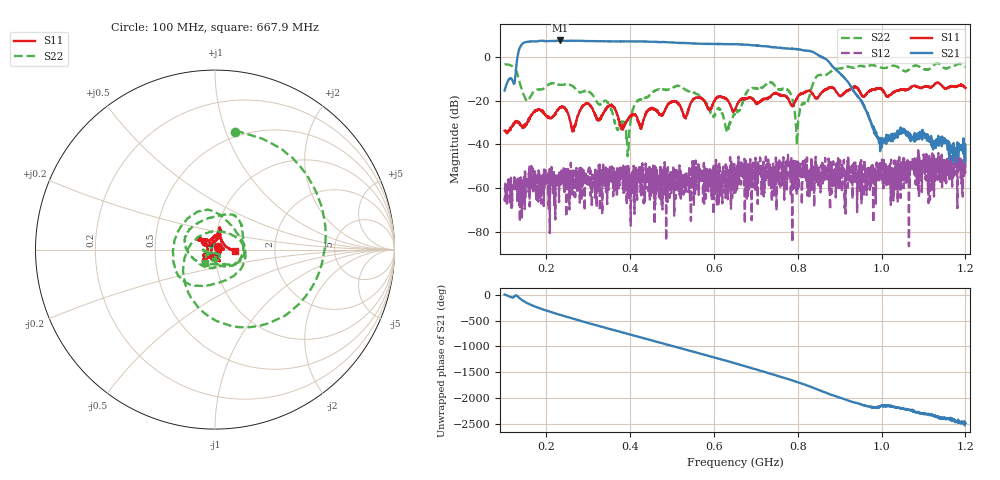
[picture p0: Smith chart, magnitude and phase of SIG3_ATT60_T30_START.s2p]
# Hz S DB R 50
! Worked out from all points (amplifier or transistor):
!   1601 points, 100 MHz to 1.2 GHz, reference 50 ohm
!   highest |S21| = 7.5 dB at 232 MHz (marker M1)
!   |S21| within 3 dB of that: 137 MHz to 735.2 MHz (598.2 MHz wide, 137 % of centre)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
!   unconditionally stable (mu >= 1): start of sweep to end of sweep
!   at 282.9 MHz: K = 72.04, MAG = 7.5 dB, |S12| = -50.8 dB
!   at 650 MHz: K = 96.58, MAG = 5.8 dB, |S12| = -51.5 dB
!   at 1.2 GHz: K = 12906.06, MAG = -44.1 dB, |S12| = -46.2 dB
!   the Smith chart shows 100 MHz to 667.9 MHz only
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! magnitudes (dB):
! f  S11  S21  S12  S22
! 100 MHz  -33.8  -15.4  -64.4  -3.6
! 122 MHz  -30.7  -12.3  -60.2  -4.7
! 144 MHz  -32.0  6.2  -56.6  -16.6
! 232 MHz  -23.2  7.5  -58.1  -12.7
! 264.3 MHz  -33.2  7.3  -51.9  -13.6
! 283.6 MHz  -23.2  7.3  -65.5  -16.1
! 345.4 MHz  -22.7  7.0  -51.2  -20.9
! 393.6 MHz  -28.7  7.0  -59.5  -45.4
! 412.8 MHz  -26.6  7.0  -56.0  -21.1
! 467.1 MHz  -25.5  6.7  -54.8  -14.9
! 531.8 MHz  -27.6  6.3  -52.4  -15.0
! 559.2 MHz  -18.5  6.1  -53.0  -17.0
! 631.4 MHz  -19.6  5.8  -52.3  -34.2
! 650 MHz  -24.3  5.7  -51.5  -26.0
! 734.6 MHz  -17.9  4.5  -55.9  -11.6
! 779.9 MHz  -20.4  3.7  -49.8  -15.9
! 798.5 MHz  -18.6  3.5  -57.2  -36.6
! 833.6 MHz  -16.4  2.4  -47.9  -13.7
! 918.1 MHz  -15.4  -11.1  -48.3  -4.6
! 995.1 MHz  -14.2  -38.7  -49.4  -4.8
! 1.017 GHz  -17.8  -37.6  -52.9  -4.5
! 1.2 GHz  -14.2  -46.1  -46.2  -4.6
